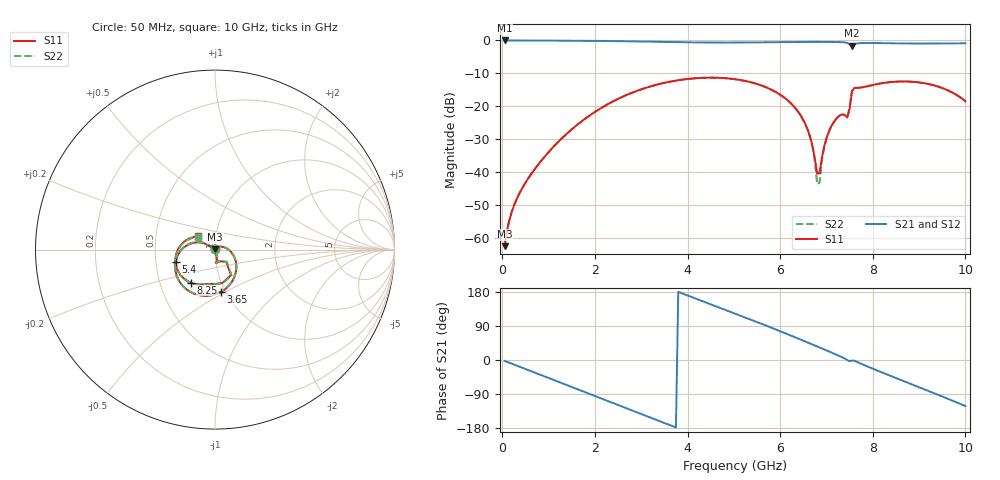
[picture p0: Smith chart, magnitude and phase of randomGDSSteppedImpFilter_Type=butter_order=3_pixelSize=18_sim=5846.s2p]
! freq	dB(S11)	phase(S11)	dB(S12)	phase(S12)
!  dB(S21)	phase(S21)	dB(S22)	phase(S22)
!S-par simulation data
#  GHz  S  DB  R 50
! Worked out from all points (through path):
!   200 points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, 50 MHz to 10 GHz, reference 50 ohm
!   highest |S21| = 0.00 dB at 50 MHz (marker M1); lowest = -1.6 dB at 7.55 GHz (marker M2)
!   group delay of S21, straight-line fit = 133 ps
!   lowest |S11| = -62.4 dB at 50 MHz (marker M3), VSWR 1.00, Z = 50 + j0.0581 ohm
!   |S11| at or under -10 dB: start of sweep to end of sweep
!   |S22| runs from -62.4 to -11.3 dB; largest |S21 - S12| = 0
!   S11 on the Smith chart (normalised r, x): 50 MHz: 1.00, +0.00; 3.65 GHz: 0.95, -0.48; 5.4 GHz: 0.64, -0.09; 8.25 GHz: 0.72, -0.28; 10 GHz: 0.82, +0.12
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0.05  -62.40 50.0  -0.00 -2.4  -0.00 -2.4  -62.39 50.1
0.2  -52.18 71.2  -0.02 -9.5  -0.02 -9.5  -52.18 71.1
0.5  -43.16 65.6  -0.03 -23.7  -0.03 -23.7  -43.16 65.5
1.75  -24.14 8.2  -0.11 -83.0  -0.11 -83.0  -24.14 8.1
2.5  -17.72 -28.1  -0.21 -118.8  -0.21 -118.8  -17.72 -28.2
3.4  -13.19 -70.9  -0.42 -161.5  -0.42 -161.5  -13.19 -71.1
3.65  -12.43 -82.6  -0.48 -173.3  -0.48 -173.3  -12.43 -82.8
4.3  -11.36 -112.5  -0.61 156.5  -0.61 156.5  -11.36 -112.8
5.05  -11.81 -146.9  -0.63 121.6  -0.63 121.6  -11.81 -147.3
5.4  -12.80 -163.0  -0.59 105.0  -0.59 105.0  -12.80 -163.5
6.25  -19.33 158.3  -0.45 63.6  -0.45 63.6  -19.35 156.8
6.7  -32.09 150.9  -0.42 40.8  -0.42 40.8  -32.45 143.3
6.8  -40.47 -171.6  -0.43 35.7  -0.43 35.7  -43.62 175.3
6.85  -40.24 -116.7  -0.43 33.2  -0.43 33.2  -43.11 -102.1
6.95  -32.20 -80.9  -0.44 28.0  -0.44 28.0  -32.51 -72.5
7.05  -27.69 -77.9  -0.45 22.8  -0.45 22.8  -27.79 -72.7
7.45  -23.37 -73.5  -0.74 -0.2  -0.74 -0.2  -23.11 -70.0
7.55  -15.50 -57.9  -1.55 -1.6  -1.55 -1.6  -15.34 -57.4
8.25  -12.86 -125.8  -0.85 -35.3  -0.85 -35.3  -12.86 -124.9
8.35  -12.68 -130.8  -0.87 -40.2  -0.87 -40.2  -12.68 -129.9
9.2  -13.21 -172.9  -0.93 -81.5  -0.93 -81.5  -13.22 -171.9
10  -18.43 142.5  -0.85 -121.5  -0.85 -121.5  -18.45 144.2
